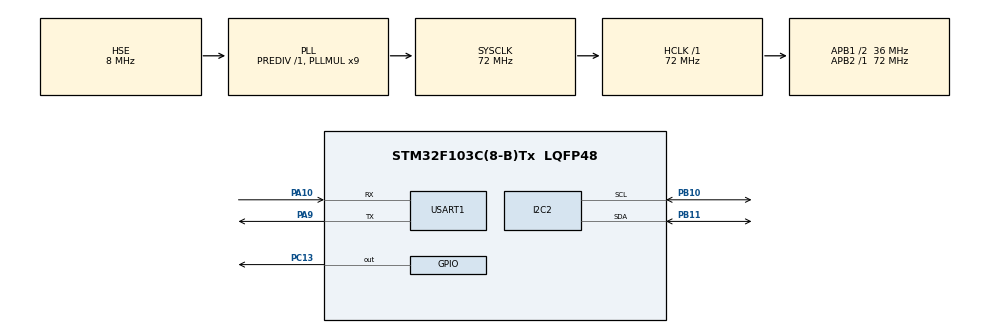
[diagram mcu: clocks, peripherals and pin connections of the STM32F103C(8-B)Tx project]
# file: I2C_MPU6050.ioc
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Mcu.Family=STM32F1
Mcu.Name=STM32F103C(8-B)Tx
Mcu.Package=LQFP48
NVIC.PriorityGroup=NVIC_PRIORITYGROUP_4
NVIC.TIM1_UP_IRQn=true\:0\:0\:false\:false\:true\:true\:true
NVIC.USART1_IRQn=true\:0\:0\:false\:false\:true\:true\:true
PA10.Mode=Asynchronous
PA10.Signal=USART1_RX
PA13.Mode=Serial_Wire
PA13.Signal=SYS_JTMS-SWDIO
PA14.Mode=Serial_Wire
PA14.Signal=SYS_JTCK-SWCLK
PA9.Mode=Asynchronous
PA9.Signal=USART1_TX
PB10.Mode=I2C
PB10.Signal=I2C2_SCL
PB11.Mode=I2C
PB11.Signal=I2C2_SDA
PC13-TAMPER-RTC.PinState=GPIO_PIN_SET
PC13-TAMPER-RTC.Signal=GPIO_Output
PD0-OSC_IN.Mode=HSE-External-Oscillator
PD0-OSC_IN.Signal=RCC_OSC_IN
PD1-OSC_OUT.Mode=HSE-External-Oscillator
PD1-OSC_OUT.Signal=RCC_OSC_OUT
ProjectManager.HeapSize=0x200
ProjectManager.StackSize=0x400
ProjectManager.TargetToolchain=MDK-ARM V5
RCC.AHBFreq_Value=72000000
RCC.APB1CLKDivider=RCC_HCLK_DIV2
RCC.APB1Freq_Value=36000000
RCC.APB1TimFreq_Value=72000000
RCC.APB2Freq_Value=72000000
RCC.APB2TimFreq_Value=72000000
RCC.HCLKFreq_Value=72000000
RCC.PLLMUL=RCC_PLL_MUL9
RCC.PLLSourceVirtual=RCC_PLLSOURCE_HSE
RCC.SYSCLKFreq_VALUE=72000000
RCC.SYSCLKSource=RCC_SYSCLKSOURCE_PLLCLK
RCC.USBFreq_Value=72000000
TIM1.AutoReloadPreload=TIM_AUTORELOAD_PRELOAD_ENABLE
TIM1.Period=299
TIM1.Prescaler=719
USART1.VirtualMode=VM_ASYNC
VP_TIM1_VS_ClockSourceINT.Mode=Internal
board=custom

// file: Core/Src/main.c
/* USER CODE BEGIN Header */
/**
  ******************************************************************************
  * @file           : main.c
  * @brief          : Main program body
  ******************************************************************************
  * @attention
  *
  * Copyright (c) 2025 STMicroelectronics.
  * All rights reserved.
  *
  * This software is licensed under terms that can be found in the LICENSE file
  * in the root directory of this software component.
  * If no LICENSE file comes with this software, it is provided AS-IS.
  *
  ******************************************************************************
  */
/* USER CODE END Header */
#include "main.h"
#include "i2c.h"
#include "tim.h"
#include "usart.h"
#include "gpio.h"

/* USER CODE BEGIN Includes */
#include "MPU6050_driver.h"
#include "oled.h"
#include <stdio.h>
#include "ANO.h"
/* USER CODE END Includes */

void SystemClock_Config(void);

/* USER CODE BEGIN 0 */
#define RXBUFFERSIZE  256
char RxBuffer[RXBUFFERSIZE];
MPU6050_Data mpu_data;

float dt = 0.003f;  // 定时器采样周期

/* USER CODE END 0 */

int main(void)
{

  /* MCU Configuration--------------------------------------------------------*/

  /* Reset of all peripherals, Initializes the Flash interface and the Systick. */
  HAL_Init();

  /* Configure the system clock */
  SystemClock_Config();

  /* Initialize all configured peripherals */
  MX_GPIO_Init();
  MX_TIM1_Init();
  MX_I2C2_Init();
  MX_USART1_UART_Init();
  /* USER CODE BEGIN 2 */
	// 初始化OLED
	OLED_Init();
	OLED_Clear();
	OLED_ShowString(1, 1, "IMU");
	// 初始化MPU6050（可选）
	if(MPU6050_Init(&hi2c2) != 0)
	{
		OLED_ShowString(3, 1, "MPU6050 Error!");
		while(1);
	}
	HAL_TIM_Base_Start_IT(&htim1);  // 启动 TIM1 定时器中断
  /* USER CODE END 2 */

  /* Infinite loop */
  while (1)
  {

  }
}

void SystemClock_Config(void)
{
  RCC_OscInitTypeDef RCC_OscInitStruct = {0};
  RCC_ClkInitTypeDef RCC_ClkInitStruct = {0};

  /** Initializes the RCC Oscillators according to the specified parameters
  * in the RCC_OscInitTypeDef structure.
  */
  RCC_OscInitStruct.OscillatorType = RCC_OSCILLATORTYPE_HSE;
  RCC_OscInitStruct.HSEState = RCC_HSE_ON;
  RCC_OscInitStruct.HSEPredivValue = RCC_HSE_PREDIV_DIV1;
  RCC_OscInitStruct.HSIState = RCC_HSI_ON;
  RCC_OscInitStruct.PLL.PLLState = RCC_PLL_ON;
  RCC_OscInitStruct.PLL.PLLSource = RCC_PLLSOURCE_HSE;
  RCC_OscInitStruct.PLL.PLLMUL = RCC_PLL_MUL9;
  if (HAL_RCC_OscConfig(&RCC_OscInitStruct) != HAL_OK)
  {
    Error_Handler();
  }
  /** Initializes the CPU, AHB and APB buses clocks
  */
  RCC_ClkInitStruct.ClockType = RCC_CLOCKTYPE_HCLK|RCC_CLOCKTYPE_SYSCLK
                              |RCC_CLOCKTYPE_PCLK1|RCC_CLOCKTYPE_PCLK2;
  RCC_ClkInitStruct.SYSCLKSource = RCC_SYSCLKSOURCE_PLLCLK;
  RCC_ClkInitStruct.AHBCLKDivider = RCC_SYSCLK_DIV1;
  RCC_ClkInitStruct.APB1CLKDivider = RCC_HCLK_DIV2;
  RCC_ClkInitStruct.APB2CLKDivider = RCC_HCLK_DIV1;

  if (HAL_RCC_ClockConfig(&RCC_ClkInitStruct, FLASH_LATENCY_2) != HAL_OK)
  {
    Error_Handler();
  }
}

/* USER CODE BEGIN 4 */
void HAL_TIM_PeriodElapsedCallback(TIM_HandleTypeDef *htim)
{
    if (htim == (&htim1))	//如果定时器TIM1中断发生
    {
		// 姿态解算
		float pitch, roll, yaw;
        GetAngles(&pitch, &roll, &yaw, 0.003f);  // 采样间隔为3ms
		// 打印姿态角
        printf("Pitch: %.2f, Roll: %.2f, Yaw: %.2f\r\n", pitch, roll, yaw);
	}
}
/* USER CODE END 4 */

void Error_Handler(void)
{
  __disable_irq();
  while (1)
  {
  }
}
